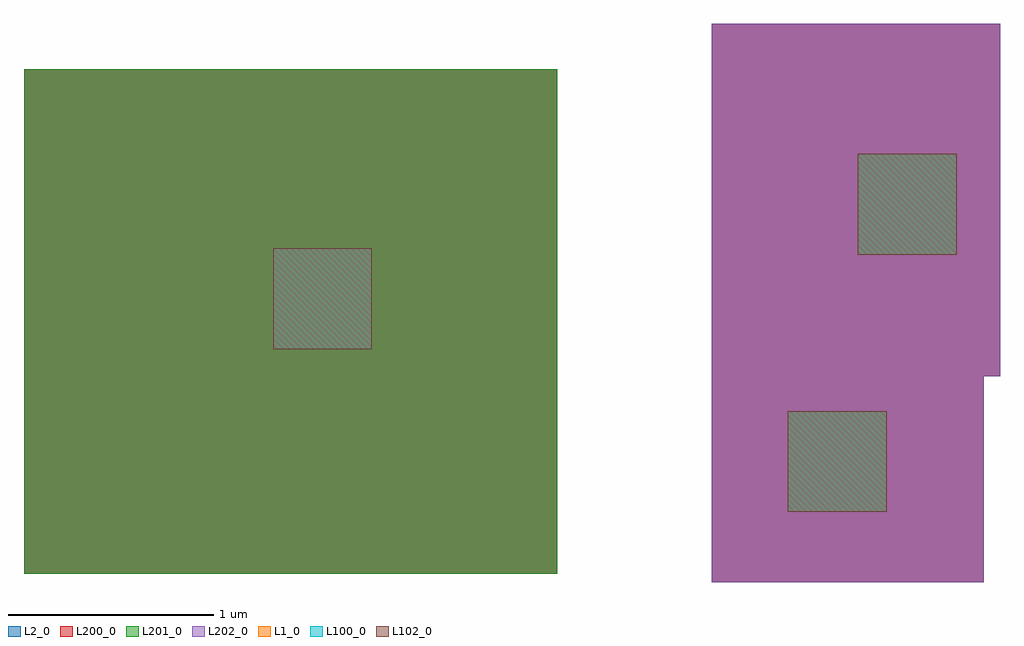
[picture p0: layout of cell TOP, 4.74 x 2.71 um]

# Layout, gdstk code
from math import pi, radians
import gdstk
lib = gdstk.Library(unit=1e-6, precision=1e-09)
def R(c, l, rs):  # rectangles x0, y0, x1, y1
    for r in rs: c.add(gdstk.rectangle(r[:2], r[2:], *l))
L1_0 = (1, 0)
L2_0 = (2, 0)
L100_0 = (100, 0)
L102_0 = (102, 0)
L200_0 = (200, 0)
L201_0 = (201, 0)
L202_0 = (202, 0)

c_c3 = lib.new_cell('C3')
R(c_c3, L1_0, [(-0.14,-0.13,0.34,0.36)])
R(c_c3, L100_0, [(-0.14,-0.13,0.34,0.36)])
R(c_c3, L102_0, [(-0.14,-0.13,0.34,0.36)])

c1_dis = lib.new_cell('C1$DIS')
r = gdstk.Reference(c_c3, (0.1,0.2)); r.repetition = gdstk.Repetition(1, 1, v1=(0,0), v2=(0,0)); c1_dis.add(r)

c_y = lib.new_cell('Y')
R(c_y, L2_0, [(0.54,0,3.13,2.45)])
R(c_y, L200_0, [(0.54,0,3.13,2.45)])
R(c_y, L201_0, [(0.54,0,3.13,2.45)])
r = gdstk.Reference(c1_dis, (2.19,1.65), rotation=pi); r.repetition = gdstk.Repetition(1, 1, v1=(0,0), v2=(0,0)); c_y.add(r)

c_c2 = lib.new_cell('C2')
R(c_c2, L2_0, [(-0.41,-0.1,0.91,0.9)])
R(c_c2, L200_0, [(-0.41,-0.1,0.91,0.9)])
R(c_c2, L202_0, [(-0.41,-0.1,0.91,0.9)])
r = gdstk.Reference(c_c3, (0.1,0.2)); r.repetition = gdstk.Repetition(1, 1, v1=(0,0), v2=(0,0)); c_c2.add(r)

c1_1 = lib.new_cell('C1$1')
r = gdstk.Reference(c_c3, (0.1,0.2)); r.repetition = gdstk.Repetition(1, 1, v1=(0,0), v2=(0,0)); c1_1.add(r)

c_x = lib.new_cell('X')
R(c_x, L2_0, [(0,1.4,1.4,3.11)])
R(c_x, L200_0, [(0,1.4,1.4,3.11)])
R(c_x, L202_0, [(0,1.4,1.4,3.11)])
r = gdstk.Reference(c_c2, (0.99,1.3), rotation=pi); r.repetition = gdstk.Repetition(1, 1, v1=(0,0), v2=(0,0)); c_x.add(r)
r = gdstk.Reference(c1_1, (0.65,2.55), rotation=pi); r.repetition = gdstk.Repetition(1, 1, v1=(0,0), v2=(0,0)); c_x.add(r)

top = lib.new_cell('TOP')
top.add(gdstk.Reference(c_y, (-0.14,0.84)))
top.add(gdstk.Reference(c_x, (5.14,0.4), rotation=pi, x_reflection=True))

lib.write_gds('TOP.gds')
